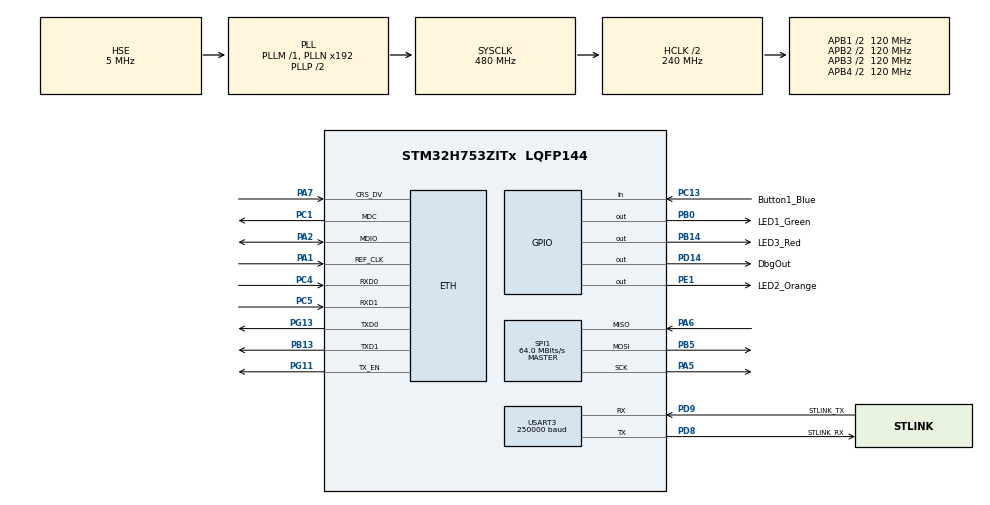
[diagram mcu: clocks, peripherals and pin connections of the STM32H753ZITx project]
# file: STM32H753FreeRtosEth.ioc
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CORTEX_M7.AccessPermission_S-Cortex_Memory_Protection_Unit_Region1_Settings_S=MPU_REGION_FULL_ACCESS
CORTEX_M7.AccessPermission_S-Cortex_Memory_Protection_Unit_Region2_Settings_S=MPU_REGION_FULL_ACCESS
CORTEX_M7.AccessPermission_Spec=MPU_REGION_FULL_ACCESS
CORTEX_M7.BaseAddress_S-Cortex_Memory_Protection_Unit_Region1_Settings_S=0x30000000
CORTEX_M7.BaseAddress_S-Cortex_Memory_Protection_Unit_Region2_Settings_S=0x24000000
CORTEX_M7.CPU_DCache=Enabled
CORTEX_M7.CPU_ICache=Enabled
CORTEX_M7.DisableExec_S-Cortex_Memory_Protection_Unit_Region1_Settings_S=MPU_INSTRUCTION_ACCESS_DISABLE
CORTEX_M7.Enable_S-Cortex_Memory_Protection_Unit_Region1_Settings_S=MPU_REGION_ENABLE
CORTEX_M7.Enable_S-Cortex_Memory_Protection_Unit_Region2_Settings_S=MPU_REGION_ENABLE
CORTEX_M7.IsBufferable_S-Cortex_Memory_Protection_Unit_Region2_Settings_S=MPU_ACCESS_BUFFERABLE
CORTEX_M7.IsCacheable_S-Cortex_Memory_Protection_Unit_Region2_Settings_S=MPU_ACCESS_CACHEABLE
CORTEX_M7.IsShareable_S-Cortex_Memory_Protection_Unit_Region1_Settings_S=MPU_ACCESS_SHAREABLE
CORTEX_M7.MPU_Control=MPU_HFNMI_PRIVDEF
CORTEX_M7.Size_S-Cortex_Memory_Protection_Unit_Region1_Settings_S=MPU_REGION_SIZE_256KB
CORTEX_M7.Size_S-Cortex_Memory_Protection_Unit_Region2_Settings_S=MPU_REGION_SIZE_512KB
CORTEX_M7.TypeExtField_S-Cortex_Memory_Protection_Unit_Region1_Settings_S=MPU_TEX_LEVEL1
CORTEX_M7.TypeExtField_S-Cortex_Memory_Protection_Unit_Region2_Settings_S=MPU_TEX_LEVEL1
CORTEX_M7.default_mode_Activation=1
ETH.MediaInterface=HAL_ETH_RMII_MODE
FREERTOS.Tasks01=tskDefault,8,2048,tskFctDefault,Default,NULL,Dynamic,NULL,NULL
FREERTOS.configCHECK_FOR_STACK_OVERFLOW=2
FREERTOS.configMINIMAL_STACK_SIZE=2048
FREERTOS.configTOTAL_HEAP_SIZE=65536
LWIP.BSP.number=1
LWIP.DEFAULT_RAW_RECVMBOX_SIZE=6
LWIP.DEFAULT_THREAD_STACKSIZE=2048
LWIP.GATEWAY_ADDRESS=000.000.000.000
LWIP.IP_ADDRESS=192.168.000.207
LWIP.LWIP_DHCP=0
LWIP.LWIP_NETCONN_FULLDUPLEX=1
LWIP.LWIP_NETCONN_SEM_PER_THREAD=1
LWIP.LWIP_NETIF_HOSTNAME=1
LWIP.LWIP_NETIF_HOSTNAME_NAME=Stm32FreeRtosEthDemo
LWIP.LWIP_NETIF_STATUS_CALLBACK=1
LWIP.LWIP_RAW=1
LWIP.LWIP_SO_RCVTIMEO=1
LWIP.MEM_SIZE=16385
LWIP.NETMASK_ADDRESS=255.255.255.000
LWIP.SLIPIF_THREAD_STACKSIZE=2048
LWIP.TCPIP_THREAD_STACKSIZE=4096
LWIP.Version=v2.2.1_Cube
LWIP0.BSP.STBoard=false
LWIP0.BSP.api=BSP_COMPONENT_DRIVER
LWIP0.BSP.component=LAN8742
LWIP0.BSP.instance=LAN8742
LWIP0.BSP.name=Driver_PHY
LWIP0.BSP.semaphore=S_LAN8742
LWIP0.BSP.solution=LAN8742
Mcu.Family=STM32H7
Mcu.Name=STM32H753ZITx
Mcu.Package=LQFP144
NVIC.PriorityGroup=NVIC_PRIORITYGROUP_4
NVIC.TIM7_IRQn=true\:15\:0\:false\:false\:true\:false\:false\:true\:true
NVIC.TimeBase=TIM7_IRQn
NVIC.TimeBaseIP=TIM7
PA1.GPIO_Speed_Default_HIGH=GPIO_SPEED_FREQ_VERY_HIGH
PA1.Mode=RMII
PA1.Signal=ETH_REF_CLK
PA13\ (JTMS/SWDIO).Mode=Trace_Asynchronous_SW
PA13\ (JTMS/SWDIO).Signal=DEBUG_JTMS-SWDIO
PA14\ (JTCK/SWCLK).Mode=Trace_Asynchronous_SW
PA14\ (JTCK/SWCLK).Signal=DEBUG_JTCK-SWCLK
PA2.GPIO_Speed_Default_HIGH=GPIO_SPEED_FREQ_VERY_HIGH
PA2.Mode=RMII
PA2.Signal=ETH_MDIO
PA5.Mode=Full_Duplex_Master
PA5.Signal=SPI1_SCK
PA6.Mode=Full_Duplex_Master
PA6.Signal=SPI1_MISO
PA7.GPIO_Speed_Default_HIGH=GPIO_SPEED_FREQ_VERY_HIGH
PA7.Mode=RMII
PA7.Signal=ETH_CRS_DV
PB0.GPIO_Label=LED1_Green
PB0.Signal=GPIO_Output
PB13.GPIO_Speed_Default_HIGH=GPIO_SPEED_FREQ_VERY_HIGH
PB13.Mode=RMII
PB13.Signal=ETH_TXD1
PB14.GPIO_Label=LED3_Red
PB14.Signal=GPIO_Output
PB3\ (JTDO/TRACESWO).Mode=Trace_Asynchronous_SW
PB3\ (JTDO/TRACESWO).Signal=DEBUG_JTDO-SWO
PB5.Mode=Full_Duplex_Master
PB5.Signal=SPI1_MOSI
PC1.GPIO_Speed_Default_HIGH=GPIO_SPEED_FREQ_VERY_HIGH
PC1.Mode=RMII
PC1.Signal=ETH_MDC
PC13.GPIO_Label=Button1_Blue
PC13.Signal=GPIO_Input
PC14-OSC32_IN\ (OSC32_IN).Signal=RCC_OSC32_IN
PC15-OSC32_OUT\ (OSC32_OUT).Signal=RCC_OSC32_OUT
PC4.GPIO_Speed_Default_HIGH=GPIO_SPEED_FREQ_VERY_HIGH
PC4.Mode=RMII
PC4.Signal=ETH_RXD0
PC5.GPIO_Speed_Default_HIGH=GPIO_SPEED_FREQ_VERY_HIGH
PC5.Mode=RMII
PC5.Signal=ETH_RXD1
PC7.Mode=External_Trigger_bidirectional
PC7.Signal=DEBUG_TRGIO
PD14.GPIO_Label=DbgOut
PD14.Signal=GPIO_Output
PD8.GPIO_Label=STLINK_RX
PD8.GPIO_Speed=GPIO_SPEED_FREQ_VERY_HIGH
PD8.Mode=Asynchronous
PD8.Signal=USART3_TX
PD9.GPIO_Label=STLINK_TX
PD9.GPIO_Speed=GPIO_SPEED_FREQ_VERY_HIGH
PD9.Mode=Asynchronous
PD9.Signal=USART3_RX
PE1.GPIO_Label=LED2_Orange
PE1.Signal=GPIO_Output
PG11.GPIO_Speed_Default_HIGH=GPIO_SPEED_FREQ_VERY_HIGH
PG11.Mode=RMII
PG11.Signal=ETH_TX_EN
PG13.GPIO_Speed_Default_HIGH=GPIO_SPEED_FREQ_VERY_HIGH
PG13.Mode=RMII
PG13.Signal=ETH_TXD0
PH0-OSC_IN\ (PH0).Mode=HSE-External-Clock-Source
PH0-OSC_IN\ (PH0).Signal=RCC_OSC_IN
PH1-OSC_OUT\ (PH1).Signal=RCC_OSC_OUT
ProjectManager.HeapSize=0x200
ProjectManager.StackSize=0x400
ProjectManager.TargetToolchain=CMake
RCC.ADCFreq_Value=128000000
RCC.APB1Freq_Value=120000000
RCC.APB2Freq_Value=120000000
RCC.APB3Freq_Value=120000000
RCC.APB4Freq_Value=120000000
RCC.CortexFreq_Value=480000000
RCC.D1PPRE=RCC_APB3_DIV2
RCC.D2PPRE1=RCC_APB1_DIV2
RCC.D2PPRE2=RCC_APB2_DIV2
RCC.D3PPRE=RCC_APB4_DIV2
RCC.DIVM1=1
RCC.DIVM2=1
RCC.DIVM3=1
RCC.DIVN1=192
RCC.DIVN2=128
RCC.DIVN3=200
RCC.DIVP2=5
RCC.DIVP3=20
RCC.DIVQ1=8
RCC.DIVQ2=5
RCC.DIVQ3=20
RCC.HCLKFreq_Value=240000000
RCC.HPRE=RCC_HCLK_DIV2
RCC.HSE_VALUE=5000000
RCC.PLL2FRACN=0
RCC.PLLFRACN=0
RCC.PLLSourceVirtual=RCC_PLLSOURCE_HSE
RCC.PWR_Regulator_Voltage_Scale=PWR_REGULATOR_VOLTAGE_SCALE0
RCC.SPI123CLockSelection=RCC_SPI123CLKSOURCE_PLL2
RCC.SYSCLKFreq_VALUE=480000000
RCC.SYSCLKSource=RCC_SYSCLKSOURCE_PLLCLK
RCC.USBFreq_Value=120000000
SPI1.BaudRatePrescaler=SPI_BAUDRATEPRESCALER_2
SPI1.CalculateBaudRate=64.0 MBits/s
SPI1.Direction=SPI_DIRECTION_2LINES
SPI1.Mode=SPI_MODE_MASTER
SPI1.VirtualType=VM_MASTER
USART3.BaudRate=250000
USART3.VirtualMode-Asynchronous=VM_ASYNC
VP_FREERTOS_VS_CMSIS_V2.Mode=CMSIS_V2
VP_LWIP_VS_Enabled.Mode=Enabled
VP_MEMORYMAP_VS_MEMORYMAP.Mode=CurAppReg
VP_SYS_VS_tim7.Mode=TIM7
board=NUCLEO-H753ZI

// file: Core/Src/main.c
/* USER CODE BEGIN Header */
/* @@@@ USERCODE FILE main program body

/*
    - Disable UNALIGN_TRP: the newlib crt0 startup sets this bit, which causes
     HardFaults on any unaligned access. The Cortex-M7 supports unaligned
     accesses on Normal memory, so we clear it here.

    - Error_Handler has been modified

*/

/**
  ******************************************************************************
  * @file           : main.c
  * @brief          : Main program body
  ******************************************************************************
  * @attention
  *
  * Copyright (c) 2026 STMicroelectronics.
  * All rights reserved.
  *
  * This software is licensed under terms that can be found in the LICENSE file
  * in the root directory of this software component.
  * If no LICENSE file comes with this software, it is provided AS-IS.
  *
  ******************************************************************************
  */
/* USER CODE END Header */
#include "main.h"
#include "FreeRTOS.h"
#include "cmsis_os2.h"
#include "lwip.h"
#include "spi.h"
#include "usart.h"
#include "gpio.h"

void SystemClock_Config(void);
static void MPU_Config(void);
void MX_FREERTOS_Init(void);

int main(void)
{

  /* USER CODE BEGIN 1 */
/* Disable UNALIGN_TRP: the newlib crt0 startup sets this bit, which causes
     HardFaults on any unaligned access. The Cortex-M7 supports unaligned
     accesses on Normal memory, so we clear it here. */
  SCB->CCR &= ~SCB_CCR_UNALIGN_TRP_Msk;

  /* USER CODE END 1 */

  /* MPU Configuration--------------------------------------------------------*/
  MPU_Config();

  /* Enable the CPU Cache */

  /* Enable I-Cache---------------------------------------------------------*/
  SCB_EnableICache();

  /* Enable D-Cache---------------------------------------------------------*/
  SCB_EnableDCache();

  /* MCU Configuration--------------------------------------------------------*/

  /* Reset of all peripherals, Initializes the Flash interface and the Systick. */
  HAL_Init();

  /* Configure the system clock */
  SystemClock_Config();

  /* Initialize all configured peripherals */
  MX_GPIO_Init();
  MX_SPI1_Init();
  MX_USART3_UART_Init();

  /* Init scheduler */
  osKernelInitialize();  /* Call init function for freertos objects (in cmsis_os2.c) */
  MX_FREERTOS_Init();

  /* Start scheduler */
  osKernelStart();

  /* We should never get here as control is now taken by the scheduler */

  /* Infinite loop */
  while (1)
  {

  }
}

void SystemClock_Config(void)
{
  RCC_OscInitTypeDef RCC_OscInitStruct = {0};
  RCC_ClkInitTypeDef RCC_ClkInitStruct = {0};

  /** Supply configuration update enable
  */
  HAL_PWREx_ConfigSupply(PWR_LDO_SUPPLY);

  /** Configure the main internal regulator output voltage
  */
  __HAL_PWR_VOLTAGESCALING_CONFIG(PWR_REGULATOR_VOLTAGE_SCALE0);

  while(!__HAL_PWR_GET_FLAG(PWR_FLAG_VOSRDY)) {}

  /** Initializes the RCC Oscillators according to the specified parameters
  * in the RCC_OscInitTypeDef structure.
  */
  RCC_OscInitStruct.OscillatorType = RCC_OSCILLATORTYPE_HSE;
  RCC_OscInitStruct.HSEState = RCC_HSE_BYPASS;
  RCC_OscInitStruct.PLL.PLLState = RCC_PLL_ON;
  RCC_OscInitStruct.PLL.PLLSource = RCC_PLLSOURCE_HSE;
  RCC_OscInitStruct.PLL.PLLM = 1;
  RCC_OscInitStruct.PLL.PLLN = 192;
  RCC_OscInitStruct.PLL.PLLP = 2;
  RCC_OscInitStruct.PLL.PLLQ = 8;
  RCC_OscInitStruct.PLL.PLLR = 2;
  RCC_OscInitStruct.PLL.PLLRGE = RCC_PLL1VCIRANGE_2;
  RCC_OscInitStruct.PLL.PLLVCOSEL = RCC_PLL1VCOWIDE;
  RCC_OscInitStruct.PLL.PLLFRACN = 0;
  if (HAL_RCC_OscConfig(&RCC_OscInitStruct) != HAL_OK)
  {
    Error_Handler();
  }

  /** Initializes the CPU, AHB and APB buses clocks
  */
  RCC_ClkInitStruct.ClockType = RCC_CLOCKTYPE_HCLK|RCC_CLOCKTYPE_SYSCLK
                              |RCC_CLOCKTYPE_PCLK1|RCC_CLOCKTYPE_PCLK2
                              |RCC_CLOCKTYPE_D3PCLK1|RCC_CLOCKTYPE_D1PCLK1;
  RCC_ClkInitStruct.SYSCLKSource = RCC_SYSCLKSOURCE_PLLCLK;
  RCC_ClkInitStruct.SYSCLKDivider = RCC_SYSCLK_DIV1;
  RCC_ClkInitStruct.AHBCLKDivider = RCC_HCLK_DIV2;
  RCC_ClkInitStruct.APB3CLKDivider = RCC_APB3_DIV2;
  RCC_ClkInitStruct.APB1CLKDivider = RCC_APB1_DIV2;
  RCC_ClkInitStruct.APB2CLKDivider = RCC_APB2_DIV2;
  RCC_ClkInitStruct.APB4CLKDivider = RCC_APB4_DIV2;

  if (HAL_RCC_ClockConfig(&RCC_ClkInitStruct, FLASH_LATENCY_4) != HAL_OK)
  {
    Error_Handler();
  }
}

 /* MPU Configuration */

void MPU_Config(void)
{
  MPU_Region_InitTypeDef MPU_InitStruct = {0};

  /* Disables the MPU */
  HAL_MPU_Disable();

  /** Initializes and configures the Region and the memory to be protected
  */
  MPU_InitStruct.Enable = MPU_REGION_ENABLE;
  MPU_InitStruct.Number = MPU_REGION_NUMBER0;
  MPU_InitStruct.BaseAddress = 0x0;
  MPU_InitStruct.Size = MPU_REGION_SIZE_4GB;
  MPU_InitStruct.SubRegionDisable = 0x87;
  MPU_InitStruct.TypeExtField = MPU_TEX_LEVEL0;
  MPU_InitStruct.AccessPermission = MPU_REGION_FULL_ACCESS;
  MPU_InitStruct.DisableExec = MPU_INSTRUCTION_ACCESS_DISABLE;
  MPU_InitStruct.IsShareable = MPU_ACCESS_SHAREABLE;
  MPU_InitStruct.IsCacheable = MPU_ACCESS_NOT_CACHEABLE;
  MPU_InitStruct.IsBufferable = MPU_ACCESS_NOT_BUFFERABLE;

  HAL_MPU_ConfigRegion(&MPU_InitStruct);

  /** Initializes and configures the Region and the memory to be protected
  */
  MPU_InitStruct.Number = MPU_REGION_NUMBER1;
  MPU_InitStruct.BaseAddress = 0x30000000;
  MPU_InitStruct.Size = MPU_REGION_SIZE_256KB;
  MPU_InitStruct.SubRegionDisable = 0x0;
  MPU_InitStruct.TypeExtField = MPU_TEX_LEVEL1;

  HAL_MPU_ConfigRegion(&MPU_InitStruct);

  /** Initializes and configures the Region and the memory to be protected
  */
  MPU_InitStruct.Number = MPU_REGION_NUMBER2;
  MPU_InitStruct.BaseAddress = 0x24000000;
  MPU_InitStruct.Size = MPU_REGION_SIZE_512KB;
  MPU_InitStruct.DisableExec = MPU_INSTRUCTION_ACCESS_ENABLE;
  MPU_InitStruct.IsShareable = MPU_ACCESS_NOT_SHAREABLE;
  MPU_InitStruct.IsCacheable = MPU_ACCESS_CACHEABLE;
  MPU_InitStruct.IsBufferable = MPU_ACCESS_BUFFERABLE;

  HAL_MPU_ConfigRegion(&MPU_InitStruct);
  /* Enables the MPU */
  HAL_MPU_Enable(MPU_HFNMI_PRIVDEF);

}

void HAL_TIM_PeriodElapsedCallback(TIM_HandleTypeDef *htim)
{
  if (htim->Instance == TIM7)
  {
    HAL_IncTick();
  }
}

void Error_Handler(void)
{
  __disable_irq();
  while (1)
  {
  }
}

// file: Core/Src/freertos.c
/* USER CODE BEGIN Header */
/* @@@@ USERCODE FILE FreeRTOS application body */
/**
  ******************************************************************************
  * File Name          : freertos.c
  * Description        : Code for freertos applications
  ******************************************************************************
  * @attention
  *
  * Copyright (c) 2026 STMicroelectronics.
  * All rights reserved.
  *
  * This software is licensed under terms that can be found in the LICENSE file
  * in the root directory of this software component.
  * If no LICENSE file comes with this software, it is provided AS-IS.
  *
  ******************************************************************************
  */
/* USER CODE END Header */

#include "FreeRTOS.h"
#include "task.h"
#include "main.h"
#include "FreeRTOS.h"
#include "cmsis_os2.h"

/* USER CODE BEGIN Includes */

#include <assert.h>
#include <stdbool.h>
#include <stdio.h>
#include "lwip/pbuf.h"
#include "lwip/netif.h"
#include "netif/ethernet.h"
#include "lwip/etharp.h"
#include "lwip/api.h"
#include "lwip/raw.h"
#include "lwip/ip_addr.h"
#include "lwip/prot/ip.h"
#include "lwip/prot/ip4.h"
#include "lwip/prot/icmp.h"
#include <string.h>

#define IP_ADDRESS  LWIP_MAKEU32(192,168,0,207)
#define IP_NETMASK  LWIP_MAKEU32(255,255,255,0)
#define IP_GW       LWIP_MAKEU32(0,0,0,0)

/* USER CODE END Includes */

/* Definitions for tskDefault */
osThreadId_t tskDefaultHandle;
const osThreadAttr_t tskDefault_attributes = {
  .name = "tskDefault",
  .stack_size = 2048 * 4,
  .priority = (osPriority_t) osPriorityLow,
};

/* USER CODE BEGIN FunctionPrototypes */
extern void  xcp_demo_init(void);

static u8_t ping_recv_callback(void *arg, struct raw_pcb *pcb, struct pbuf *p, const ip_addr_t *addr);

/* USER CODE END FunctionPrototypes */

void tskFctDefault(void *argument);

extern void MX_LWIP_Init(void);
void MX_FREERTOS_Init(void); /* (MISRA C 2004 rule 8.1) */

/* Hook prototypes */
void vApplicationStackOverflowHook(xTaskHandle xTask, char *pcTaskName);

/* USER CODE BEGIN 4 */
void vApplicationStackOverflowHook(xTaskHandle xTask, char *pcTaskName)
{
   /* Run time stack overflow checking is performed if
   configCHECK_FOR_STACK_OVERFLOW is defined to 1 or 2. This hook function is
   called if a stack overflow is detected. */
}
/* USER CODE END 4 */

void MX_FREERTOS_Init(void) {

  /* Create the thread(s) */
  /* creation of tskDefault */
  tskDefaultHandle = osThreadNew(tskFctDefault, NULL, &tskDefault_attributes);

}

void tskFctDefault(void *argument)
{
  /* init code for LWIP */
  MX_LWIP_Init();
  /* USER CODE BEGIN tskFctDefault */

  /* Eth Status */
  extern struct netif gnetif;
  printf("Eth status: netif=%d link=%d\r\n", netif_is_up(&gnetif), netif_is_link_up(&gnetif));

  /* Static IP setup */
  ip4_addr_t fb_ip, fb_mask, fb_gw;
  fb_ip.addr   = PP_HTONL(IP_ADDRESS);
  fb_mask.addr = PP_HTONL(IP_NETMASK);
  fb_gw.addr   = PP_HTONL(IP_GW);
  netif_set_addr(&gnetif, &fb_ip, &fb_mask, &fb_gw);
  printf("IP Address: %s:5000\r\n", ip4addr_ntoa(netif_ip4_addr(&gnetif)));

  /* Register ICMP ping listener */
  struct raw_pcb *ping_pcb = raw_new(IP_PROTO_ICMP);
  raw_recv(ping_pcb, ping_recv_callback, NULL);
  raw_bind(ping_pcb, IP_ADDR_ANY);
  printf("Ping listener active, LED3_Red toggles on ping\r\n");

  /* Initialize the XCP demo */
  xcp_demo_init();

  /* Infinite loop */
  for(;;) {

    // Blink Green LED
    HAL_GPIO_WritePin(LED1_Green_GPIO_Port, LED1_Green_Pin, GPIO_PIN_SET);
    osDelay(500);
    HAL_GPIO_WritePin(LED1_Green_GPIO_Port, LED1_Green_Pin, GPIO_PIN_RESET);
    osDelay(500);

  }

  /* USER CODE END tskFctDefault */
}

/* USER CODE BEGIN Application */

/**
  * @brief  ICMP raw receive callback – called for every incoming ICMP packet.
  *         Returns 0 so LwIP still processes (and replies to) the ping normally.
  */
static u8_t ping_recv_callback(void *arg, struct raw_pcb *pcb, struct pbuf *p, const ip_addr_t *addr)
{
  /* Check if it's an Echo Request (type 8) */
  if (p->len >= sizeof(struct ip_hdr) + sizeof(struct icmp_echo_hdr))
  {
    struct ip_hdr *iphdr = (struct ip_hdr *)p->payload;
    uint16_t ip_hlen = IPH_HL(iphdr) * 4;
    struct icmp_echo_hdr *icmphdr = (struct icmp_echo_hdr *)((uint8_t *)p->payload + ip_hlen);

    if (ICMPH_TYPE(icmphdr) == ICMP_ECHO)  /* Echo Request */
    {
      //ping_count++;
      HAL_GPIO_TogglePin(LED3_Red_GPIO_Port, LED3_Red_Pin);
      printf("PING from %s\r\n", ip4addr_ntoa(ip_2_ip4(addr)));
    }
  }
  return 0;  /* 0 = don't consume, let LwIP send the reply */
}

/* USER CODE END Application */
